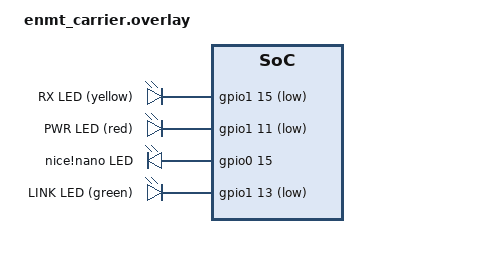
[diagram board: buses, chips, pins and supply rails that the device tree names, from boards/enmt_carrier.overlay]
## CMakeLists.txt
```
#
# EnOcean-to-Matter-over-Thread gateway.
# Based on the nRF Connect SDK Matter Bridge application
# (Copyright (c) 2023 Nordic Semiconductor ASA, LicenseRef-Nordic-5-Clause).
#

cmake_minimum_required(VERSION 3.20.0)

find_package(Zephyr HINTS $ENV{ZEPHYR_BASE})

project(enocean-matter-gateway)

# Bridge core, Matter identity, network log: firmware/common
include(${CMAKE_CURRENT_SOURCE_DIR}/../common/common.cmake)

target_include_directories(app PRIVATE
  src
  src/enocean
)

target_sources(app PRIVATE
  src/app_task.cpp
  src/main.cpp
  ${GATEWAY_BRIDGED_DEVICE_TYPES}/onoff_light.cpp
  src/enocean/esp3.c
  src/enocean/eep.c
  src/enocean/tcm.c
  src/enocean/enocean_manager.cpp
  src/enocean/enocean_shell.cpp
  src/gateway_shell.cpp
)

# LaMetric Time follows the kitchen radio's power (src/lametric/lametric.h)
if(CONFIG_GATEWAY_LAMETRIC)
  target_sources(app PRIVATE src/lametric/lametric.cpp)
  target_sources_ifdef(CONFIG_SHELL app PRIVATE src/lametric/lametric_shell.cpp)
endif()

# Status page (firmware/common/web): src/web/index.html and its JSON
target_sources_ifdef(CONFIG_GATEWAY_WEB app PRIVATE src/web_status.cpp)

ncs_configure_data_model()
```

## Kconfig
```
#
# EnOcean-to-Matter-over-Thread gateway.
# Based on the nRF Connect SDK Matter Bridge application
# (Copyright (c) 2023 Nordic Semiconductor, LicenseRef-Nordic-5-Clause).
#
mainmenu "EnOcean-to-Matter-over-Thread Gateway"

# The TCM on a UART, interrupt-driven receive into a ring buffer
config SERIAL
	default y

config UART_INTERRUPT_DRIVEN
	default y

config RING_BUFFER
	default y

menu "EnOcean gateway"

config GATEWAY_ENOCEAN_MAX_DEVICES
	int "Maximum number of bridged EnOcean endpoints"
	default 16
	help
	  Each endpoint (an actuator, or one lamp of a two-channel actuator) uses one bridge provider
	  and one dynamic endpoint. See
	  BRIDGE_MAX_BRIDGED_DEVICES_NUMBER and BRIDGE_MAX_DYNAMIC_ENDPOINTS_NUMBER.

config GATEWAY_ENOCEAN_SEEN_MAX
	int "Number of senders kept in the 'heard' table"
	default 16

config GATEWAY_ENOCEAN_QUEUE_SIZE
	int "Telegrams queued between the TCM and Matter threads"
	default 8

config GATEWAY_ENOCEAN_RX_STACK_SIZE
	int "Stack size of the TCM receive thread"
	default 1024

config GATEWAY_LAMETRIC
	bool "LaMetric Time follows the power of an actuator"
	depends on OPENTHREAD_SOURCES && SETTINGS
	select OPENTHREAD_TCP_ENABLE
	help
	  When a D2-01 actuator (the kitchen radio) draws power, the LaMetric
	  Time's screensaver is turned off and its radio app plays; at 0 W the
	  screensaver is turned on and the radio stops. Local REST API over plain HTTP on OpenThread's
	  TCP; an IPv4 clock is reached through the border router's NAT64.
	  Set up in the shell: `lametric host|key|trigger`. See
	  src/lametric/lametric.h.

if GATEWAY_LAMETRIC

config GATEWAY_LAMETRIC_PORT
	int "Default HTTP port of the clock's local API"
	default 8080

config GATEWAY_LAMETRIC_ON_W
	int "Power (W) from which the clock is switched on"
	default 1
	range 1 10000

endif # GATEWAY_LAMETRIC

module = GATEWAY_ENOCEAN
module-str = Gateway EnOcean
source "subsys/logging/Kconfig.template.log_config"

endmenu

rsource "../common/Kconfig"
```

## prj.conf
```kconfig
#
# Copyright (c) 2023 Nordic Semiconductor ASA
#
# SPDX-License-Identifier: LicenseRef-Nordic-5-Clause
#

# This sample uses Kconfig.defaults to set options common for all
# samples. This file should contain only options specific for this sample
# or overrides of default values.

# Enable CHIP
CONFIG_CHIP=y
CONFIG_CHIP_PROJECT_CONFIG="src/chip_project_config.h"
CONFIG_CHIP_DEVICE_PRODUCT_NAME="EnOcean Gateway"

# Configure ZAP file name
CONFIG_NCS_SAMPLE_MATTER_ZAP_FILE_PATH="${APPLICATION_CONFIG_DIR}/src/default_zap/bridge.zap"

# 32771 == 0x8003 (test product ID; the BLE gateway uses 0x8002)
CONFIG_CHIP_DEVICE_PRODUCT_ID=32771
CONFIG_STD_CPP17=y

# Enable Matter pairing automatically on application start.
CONFIG_CHIP_ENABLE_PAIRING_AUTOSTART=y

# Enable Matter extended announcement and increase duration to 1 hour.
CONFIG_CHIP_BLE_EXT_ADVERTISING=y
CONFIG_CHIP_BLE_ADVERTISING_DURATION=60

# Add support for LEDs and buttons on Nordic development kits
CONFIG_DK_LIBRARY=y

# Bluetooth Low Energy configuration
CONFIG_BT_DEVICE_NAME="EnOceanGateway"

# Other settings
CONFIG_THREAD_NAME=y
CONFIG_MPU_STACK_GUARD=y
CONFIG_RESET_ON_FATAL_ERROR=n
CONFIG_CHIP_LIB_SHELL=y
CONFIG_NCS_SAMPLE_MATTER_TEST_SHELL=y

# Reduce assert verbosity to save flash space.
CONFIG_ASSERT_NO_FILE_INFO=y

# Disable NFC onboarding
CONFIG_CHIP_NFC_ONBOARDING_PAYLOAD=n

# Reduce application size
CONFIG_USE_SEGGER_RTT=n

# Enable Factory Data feature
CONFIG_CHIP_FACTORY_DATA=y
CONFIG_CHIP_FACTORY_DATA_BUILD=y

# Increase heap size to accommodate the memory required for additional bridged devices.
CONFIG_CHIP_MALLOC_SYS_HEAP_SIZE=16384

# Enable Shell
CONFIG_SHELL=y
# `enocean add` and `enocean lamps` create endpoints and write the storage on the shell thread.
CONFIG_SHELL_STACK_SIZE=3072

# Peak use was 864 of the default 1152 B (wiki: Measurements)
CONFIG_SYSTEM_WORKQUEUE_STACK_SIZE=1536

# EnOcean: log every actuator command
CONFIG_GATEWAY_ENOCEAN_LOG_LEVEL_INF=y

# Status page over HTTP (firmware/common/web). It needs TCP, which only OpenThread built
# from source has (the prebuilt Nordic library is built without it).
CONFIG_OPENTHREAD_SOURCES=y
CONFIG_GATEWAY_WEB=y

# LaMetric Time follows the kitchen radio (src/lametric/lametric.h)
CONFIG_GATEWAY_LAMETRIC=y
```

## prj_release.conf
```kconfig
#
# Copyright (c) 2023 Nordic Semiconductor ASA
#
# SPDX-License-Identifier: LicenseRef-Nordic-5-Clause
#

# This sample uses Kconfig.defaults to set options common for all
# samples. This file should contain only options specific for this sample
# or overrides of default values.

# Enable CHIP
CONFIG_CHIP=y
CONFIG_CHIP_PROJECT_CONFIG="src/chip_project_config.h"
CONFIG_CHIP_DEVICE_PRODUCT_NAME="EnOcean Gateway"

# Configure ZAP file name
CONFIG_NCS_SAMPLE_MATTER_ZAP_FILE_PATH="${APPLICATION_CONFIG_DIR}/src/default_zap/bridge.zap"

# 32771 == 0x8003 (test product ID; the BLE gateway uses 0x8002)
CONFIG_CHIP_DEVICE_PRODUCT_ID=32771
CONFIG_STD_CPP17=y

# Enable Matter pairing automatically on application start.
CONFIG_CHIP_ENABLE_PAIRING_AUTOSTART=y

# Enable Matter extended announcement and increase duration to 1 hour.
CONFIG_CHIP_BLE_EXT_ADVERTISING=y
CONFIG_CHIP_BLE_ADVERTISING_DURATION=60

# Add support for LEDs and buttons on Nordic development kits
CONFIG_DK_LIBRARY=y

# Bluetooth Low Energy configuration
CONFIG_BT_DEVICE_NAME="EnOceanGateway"

# Enable system reset on fatal error
CONFIG_RESET_ON_FATAL_ERROR=y

# Disable all debug features
CONFIG_USE_SEGGER_RTT=n
CONFIG_OPENTHREAD_SHELL=n
CONFIG_LOG=n
CONFIG_LOG_MODE_MINIMAL=n
CONFIG_ASSERT_VERBOSE=n
CONFIG_ASSERT_NO_FILE_INFO=y
CONFIG_PRINTK=n
CONFIG_PRINTK_SYNC=n
CONFIG_THREAD_NAME=n
CONFIG_BOOT_BANNER=n

# Disable NFC onboarding
CONFIG_CHIP_NFC_ONBOARDING_PAYLOAD=n

# Enable Factory Data feature
CONFIG_CHIP_FACTORY_DATA=y
CONFIG_CHIP_FACTORY_DATA_BUILD=y

# Enable the Read Client for binding purposes
CONFIG_CHIP_ENABLE_READ_CLIENT=y

# Enable Watchdog
CONFIG_NCS_SAMPLE_MATTER_WATCHDOG=y

# Enable LTO to decrease the flash usage.
CONFIG_LTO=y
CONFIG_ISR_TABLES_LOCAL_DECLARATION=y

# Increase heap size to accommodate the memory required for additional bridged devices.
CONFIG_CHIP_MALLOC_SYS_HEAP_SIZE=16384

# Enable Shell
CONFIG_SHELL=y

# Peak use was 864 of the default 1152 B (wiki: Measurements)
CONFIG_SYSTEM_WORKQUEUE_STACK_SIZE=1536

# Status page over HTTP (firmware/common/web). It needs TCP, which only OpenThread built
# from source has (the prebuilt Nordic library is built without it).
CONFIG_OPENTHREAD_SOURCES=y
CONFIG_GATEWAY_WEB=y

# LaMetric Time follows the kitchen radio (src/lametric/lametric.h)
CONFIG_GATEWAY_LAMETRIC=y
```

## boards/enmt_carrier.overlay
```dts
/*
 * EnMT carrier board (hardware/enocean-carrier): a nice!nano v2 on a carrier with a TCM 515,
 * two buttons and three status LEDs under the lid's light pipes.
 *
 * Applied on top of the Pro Micro UF2 target (promicro_nrf52840/nrf52840/uf2, which includes
 * promicro_nrf52840_common.dtsi for the TCM UART and the function button) by `make BOARD=enmt`.
 *
 * The LEDs hang from 3.3 V through their resistors: a pin pulled low lights its LED.
 * Order of the leds node = DK_LED1..4 of the DK library = LED1..4 of Nrf::Board:
 *   LED1  green  LINK  P1.13  Matter/Thread status (Nrf::Board: off-blink, BLE blink, on when connected)
 *   LED2  yellow RX    P1.15  short pulse per EnOcean telegram; Matter Identify blinks it
 *   LED3  red    PWR   P1.11  on once the TCM answers, blinks while it doesn't (status_leds.cpp)
 *   LED4  the nice!nano's own LED on P0.15 (under the module, not visible in the case)
 * All four blink together during a factory reset (button held 6 s).
 */

/* led0 keeps its label: the board's aliases (led0, mcuboot-led0) point at it. */
&led0 {
	gpios = <&gpio1 13 GPIO_ACTIVE_LOW>;
	label = "LINK LED (green)";
};

/ {
	leds {
		led_rx: led_1 {
			gpios = <&gpio1 15 GPIO_ACTIVE_LOW>;
			label = "RX LED (yellow)";
		};

		led_pwr: led_2 {
			gpios = <&gpio1 11 GPIO_ACTIVE_LOW>;
			label = "PWR LED (red)";
		};

		led_module: led_3 {
			gpios = <&gpio0 15 GPIO_ACTIVE_HIGH>;
			label = "nice!nano LED";
		};
	};

	aliases {
		led1 = &led_rx;
		led2 = &led_pwr;
		led3 = &led_module;
	};
};
```

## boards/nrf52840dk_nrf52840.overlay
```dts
/*
 * Copyright (c) 2021 Nordic Semiconductor ASA
 *
 * SPDX-License-Identifier: LicenseRef-Nordic-5-Clause
 */

#include <samples/matter/nrf52840_partitions.dtsi>
#include "../../common/boards/nrf52840dk_status_leds.dtsi"

/ {
	chosen {
		nordic,pm-ext-flash = &mx25r64;
		/* TCM 310/515 (EnOcean Pi hat): P1.02 = TX to the module, P1.01 = RX from it
		 * (Arduino header D1/D0, pins from the board's arduino_serial pinctrl). */
		enocean,uart = &uart1;
	};
};

&uart1 {
	status = "okay";
	current-speed = <57600>;
};

&mx25r64 {
	status = "okay";
};

/* Disable unused peripherals to reduce power consumption */
&adc {
	status = "disabled";
};

&i2c0 {
	status = "disabled";
};

&pwm0 {
	status = "disabled";
};

&spi1 {
	status = "disabled";
};

&spi3 {
	status = "disabled";
};

&usbd {
	status = "disabled";
};
```

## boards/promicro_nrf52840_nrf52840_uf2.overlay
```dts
/*
 * Pro Micro nRF52840 with the factory UF2 bootloader kept
 * (board target promicro_nrf52840/nrf52840/uf2).
 *
 * Flashed by copying a .uf2 file to the board's USB drive; no SWD needed.
 * The Nordic MBR stays at 0x0. There is no SoftDevice: the bootloader then
 * starts the app at 0x1000 directly, so the 152 KB the SoftDevice would take
 * are used by the app.
 *
 * The bootloader accepts UF2 writes only from 0x1000 to 0xea000, so the
 * factory data must sit below 0xea000. Above it, up to the bootloader, lies
 * the bootloader's "App Data Reserved" area: the settings go there and survive
 * every firmware flash. A firmware .uf2 can't erase them; the EnMT bootloader
 * (firmware/bootloader) writes them only from its own SETTINGS.UF2.
 *
 * A bootloader update (update-*.uf2, BOOTLOAD.UF2) first writes the new
 * bootloader to a 40 KB staging area in the app space, then copies it into
 * place. The EnMT bootloader (firmware/bootloader) stages at 0xdf000-0xe9000,
 * the stock one at 0xe0000-0xea000, with the config block at 0xe9800 inside
 * the factory data page. So the app ends at 0xdf000, and the factory data may
 * use only the first 2 KB of its page (both checked by scripts/make-uf2.py).
 *
 *   0x00000  MBR (4 KB)
 *   0x01000  app (888 KB)
 *   0xdf000  unused: staging for bootloader updates (40 KB)
 *   0xe9000  factory data (4 KB, at most 2 KB used)
 *   0xea000  settings (32 KB)
 *   0xf2000  unused (8 KB)
 *   0xf4000  UF2 bootloader and its settings (48 KB)
 *
 * Source: Adafruit_nRF52_Bootloader, src/usb/uf2/uf2cfg.h (USER_FLASH_START/END)
 * and DFU_APP_DATA_RESERVED = 40 KB for the nRF52840.
 */

/delete-node/ &reserved_partition_0;
/delete-node/ &code_partition;
/delete-node/ &storage_partition;
/delete-node/ &boot_partition;

/ {
	chosen {
		zephyr,code-partition = &slot0_partition;
	};
};

&flash0 {
	partitions {
		ranges;
		#address-cells = <1>;
		#size-cells = <1>;

		slot0_partition: partition@1000 {
			compatible = "zephyr,mapped-partition";
			label = "image-0";
			reg = <0x00001000 DT_SIZE_K(888)>;
		};

		factory_data_partition: partition@e9000 {
			compatible = "zephyr,mapped-partition";
			label = "factory-data";
			reg = <0x000e9000 DT_SIZE_K(4)>;
		};

		storage_partition: partition@ea000 {
			compatible = "zephyr,mapped-partition";
			label = "storage";
			reg = <0x000ea000 DT_SIZE_K(32)>;
		};
	};
};

#include "promicro_nrf52840_common.dtsi"
```

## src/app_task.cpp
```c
/*
 * EnOcean-to-Matter-over-Thread gateway.
 * Based on the nRF Connect SDK Matter Bridge application
 * (Copyright (c) 2023 Nordic Semiconductor ASA, LicenseRef-Nordic-5-Clause).
 */

#include "app_task.h"
#include "enocean_manager.h"
#ifdef CONFIG_GATEWAY_IDENTITY_FROM_CHIP_ID
#include "identity/chip_id_identity.h"
#endif
#ifdef CONFIG_GATEWAY_NET_LOG
#include "netlog/net_log.h"
#endif
#ifdef CONFIG_GATEWAY_WEB
#include "web/web_server.h"
#include "web_status.h"
#endif
#ifdef CONFIG_GATEWAY_LAMETRIC
#include "lametric/lametric.h"
#endif
#ifdef CONFIG_GATEWAY_STATUS_LEDS
#include "status_leds/status_leds.h"
#include "tcm.h"
#endif

#include "ota/gateway_ota.h"
#include "app/matter_init.h"
#include "app/task_executor.h"
#include "board/board.h"
#include "bridge_manager.h"
#include "bridge_storage_manager.h"
#include "clusters/identify.h"

#include <zephyr/logging/log.h>

LOG_MODULE_DECLARE(app, CONFIG_CHIP_APP_LOG_LEVEL);

using namespace ::chip;
using namespace ::chip::app;
using namespace ::chip::DeviceLayer;

namespace
{

constexpr EndpointId kBridgeEndpointId = 1;

/* Trigger effect is enabled for the bridge device */
Nrf::Matter::IdentifyCluster sIdentifyCluster(kBridgeEndpointId, true);

#ifndef CONFIG_CHIP_FACTORY_RESET_ERASE_SETTINGS
void AppFactoryResetHandler(const ChipDeviceEvent *event, intptr_t /* unused */)
{
	switch (event->Type) {
	case DeviceEventType::kFactoryReset:
		Nrf::BridgeStorageManager::Instance().FactoryReset();
		break;
	default:
		break;
	}
}
#endif

#ifdef CONFIG_GATEWAY_IDENTITY_FROM_CHIP_ID
Gateway::ChipIdFactoryDataProvider sChipIdFactoryDataProvider;
#endif
} /* namespace */

CHIP_ERROR AppTask::RestoreBridgedDevices()
{
	uint8_t count;
	uint8_t indexes[Nrf::BridgeManager::kMaxBridgedDevices] = { 0 };
	size_t indexesCount = 0;

	if (!Nrf::BridgeStorageManager::Instance().LoadBridgedDevicesCount(count)) {
		LOG_INF("No bridged devices to load from the storage.");
		return CHIP_NO_ERROR;
	}

	if (!Nrf::BridgeStorageManager::Instance().LoadBridgedDevicesIndexes(
		    indexes, Nrf::BridgeManager::kMaxBridgedDevices, indexesCount)) {
		return CHIP_NO_ERROR;
	}

	for (size_t i = 0; i < indexesCount; i++) {
		Nrf::BridgeStorageManager::BridgedDevice device;
		Gateway::EnOceanUserData userData{};

		device.mUserData = reinterpret_cast<uint8_t *>(&userData);
		device.mUserDataSize = sizeof(userData);

		if (!Nrf::BridgeStorageManager::Instance().LoadBridgedDevice(device, indexes[i])) {
			return CHIP_ERROR_NOT_FOUND;
		}
		if (device.mUserDataSize != sizeof(userData)) {
			LOG_WRN("Stored device %u is not an EnOcean actuator, skipped", indexes[i]);
			continue;
		}

		CHIP_ERROR err = Gateway::EnOceanManager::Instance().Restore(userData, device.mDeviceType,
									     device.mUniqueID, device.mNodeLabel,
									     indexes[i], device.mEndpointId);
		if (err != CHIP_NO_ERROR) {
			LOG_ERR("Cannot restore device %u: %" CHIP_ERROR_FORMAT, indexes[i], err.Format());
		}
	}
	return CHIP_NO_ERROR;
}

CHIP_ERROR AppTask::Init()
{
	/* Initialize Matter stack */
	ReturnErrorOnFailure(Nrf::Matter::PrepareServer(Nrf::Matter::InitData{
#ifdef CONFIG_GATEWAY_IDENTITY_FROM_CHIP_ID
		.mFactoryDataProvider = &sChipIdFactoryDataProvider,
#endif
		.mPostServerInitClbk = [] {
		CHIP_ERROR err = Nrf::BridgeManager::Instance().Init(RestoreBridgedDevices);
		if (err != CHIP_NO_ERROR) {
			LOG_ERR("BridgeManager initialization failed");
			return err;
		}

		/* A missing or unwired TCM is not fatal: Matter keeps running, sending fails. */
		if (Gateway::EnOceanManager::Instance().Start() != CHIP_NO_ERROR) {
			LOG_ERR("EnOcean TCM initialization failed");
		}
#ifdef CONFIG_GATEWAY_NET_LOG
		Gateway::NetLog::Init();
#endif
#ifdef CONFIG_GATEWAY_WEB
		Gateway::Web::Init(Gateway::WriteWebStatus);
#endif
#ifdef CONFIG_GATEWAY_LAMETRIC
		Gateway::LaMetric::Init();
#endif
		return CHIP_NO_ERROR;
	} }));

	if (!Nrf::GetBoard().Init()) {
		LOG_ERR("User interface initialization failed.");
		return CHIP_ERROR_INCORRECT_STATE;
	}
#ifdef CONFIG_GATEWAY_STATUS_LEDS
	/* PWR blinks while the TCM hasn't told its base ID (not answering: wiring, no TCM). */
	Gateway::StatusLeds::Init([] { return tcm_base_id() != 0; });
#endif

	/* Register Matter event handler that controls the connectivity status LED based on the captured Matter
	 * network state. */
	ReturnErrorOnFailure(Nrf::Matter::RegisterEventHandler(Nrf::Board::DefaultMatterEventHandler, 0));

#ifndef CONFIG_CHIP_FACTORY_RESET_ERASE_SETTINGS
	/* The whole settings partition is not erased on factory reset; clean up the bridge storage. */
	ReturnErrorOnFailure(Nrf::Matter::RegisterEventHandler(AppFactoryResetHandler, 0));
#endif

	ReturnErrorOnFailure(sIdentifyCluster.Init());

#ifdef CONFIG_GATEWAY_OTA
	ReturnErrorOnFailure(Gateway::Ota::Init());
#endif

	return Nrf::Matter::StartServer();
}

CHIP_ERROR AppTask::StartApp()
{
	ReturnErrorOnFailure(Init());

	while (true) {
		Nrf::DispatchNextTask();
	}

	return CHIP_NO_ERROR;
}
```

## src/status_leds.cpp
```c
/*
 * PWR and RX LEDs of the EnMT carrier board, see status_leds.h.
 */

#include "status_leds.h"

#include "app/task_executor.h"
#include "board/board.h"
#include "tcm.h"

#include <zephyr/kernel.h>

namespace Gateway::StatusLeds
{
namespace
{

constexpr uint32_t kRxPulseMs = 80;
constexpr uint32_t kTcmCheckMs = 1000;
constexpr int64_t kTcmGraceMs = 3000;          /* the TCM answers within about a second after boot */
constexpr uint32_t kTcmMissingOnMs = 150;
constexpr uint32_t kTcmMissingOffMs = 850;

enum class TcmState { Unknown, Present, Missing };

TcmState sTcmState = TcmState::Unknown;
k_timer sTcmTimer;
k_timer sRxTimer;

Nrf::LEDWidget &PwrLed()
{
	return Nrf::GetBoard().GetLED(Nrf::DeviceLeds::LED3);
}

Nrf::LEDWidget &RxLed()
{
	return Nrf::GetBoard().GetLED(Nrf::DeviceLeds::LED2);
}

/* App task: set PWR only when the TCM state changes, so a factory reset's blinking isn't overridden. */
void UpdatePwr()
{
	TcmState state = TcmState::Unknown;

	if (tcm_base_id() != 0) {
		state = TcmState::Present;
	} else if (k_uptime_get() >= kTcmGraceMs) {
		state = TcmState::Missing;
	}
	if (state == sTcmState || state == TcmState::Unknown) {
		return;
	}
	sTcmState = state;
	if (state == TcmState::Present) {
		PwrLed().Set(true);
	} else {
		PwrLed().Blink(kTcmMissingOnMs, kTcmMissingOffMs);
	}
}

void TcmTimerHandler(k_timer *)
{
	Nrf::PostTask([] { UpdatePwr(); });
}

void RxTimerHandler(k_timer *)
{
	Nrf::PostTask([] { RxLed().Set(false); });
}

} /* namespace */

void Init()
{
	k_timer_init(&sTcmTimer, TcmTimerHandler, nullptr);
	k_timer_init(&sRxTimer, RxTimerHandler, nullptr);
	/* PWR lights right away; it starts blinking if the TCM stays silent. */
	PwrLed().Set(true);
	k_timer_start(&sTcmTimer, K_MSEC(kTcmCheckMs), K_MSEC(kTcmCheckMs));
}

void TelegramReceived()
{
	Nrf::PostTask([] {
		RxLed().Set(true);
		k_timer_start(&sRxTimer, K_MSEC(kRxPulseMs), K_NO_WAIT);
	});
}

} /* namespace Gateway::StatusLeds */
```

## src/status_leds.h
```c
/*
 * PWR and RX LEDs of the EnMT carrier board (boards/enmt_carrier.overlay, `make BOARD=enmt`).
 * LINK is Nrf::Board's status LED (LED1) and needs nothing here.
 *
 *   PWR (red, LED3)    on once the TCM has told its base ID; blinks while it hasn't (wiring, no TCM)
 *   RX  (yellow, LED2) a short pulse for every telegram received from another sender
 *
 * Built only with CONFIG_GATEWAY_STATUS_LEDS, which the overlay turns on.
 */

#pragma once

namespace Gateway::StatusLeds
{

/* After Nrf::GetBoard().Init(), in the app task. */
void Init();

/* From any thread. */
void TelegramReceived();

} /* namespace Gateway::StatusLeds */
```
